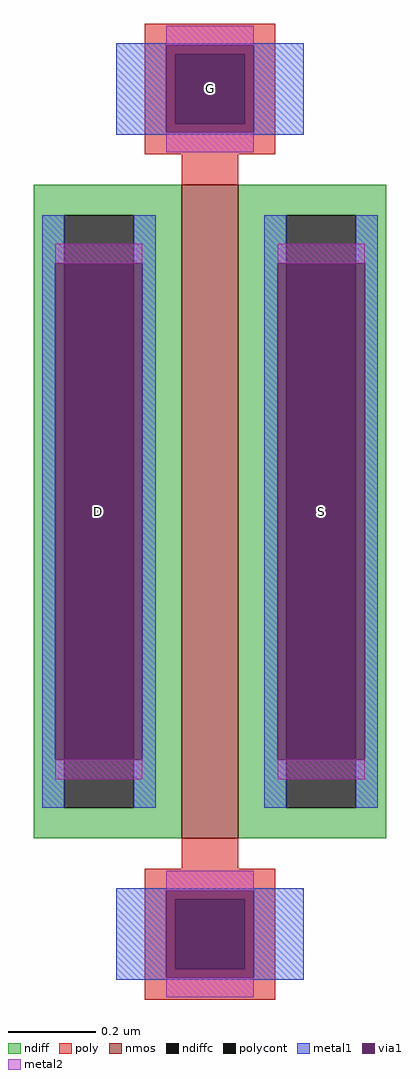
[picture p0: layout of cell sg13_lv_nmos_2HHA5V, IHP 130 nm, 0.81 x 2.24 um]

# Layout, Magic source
magic
tech ihp-sg13cmos5l
magscale 1 2
<< nmos >>
rect -13 -150 13 150
<< ndiff >>
rect -81 136 -13 150
rect -81 -136 -67 136
rect -35 -136 -13 136
rect -81 -150 -13 -136
rect 13 136 81 150
rect 13 -136 35 136
rect 67 -136 81 136
rect 13 -150 81 -136
<< ndiffc >>
rect -67 -136 -35 136
rect 35 -136 67 136
<< poly >>
rect -30 210 30 224
rect -30 178 -16 210
rect 16 178 30 210
rect -30 164 30 178
rect -13 150 13 164
rect -13 -164 13 -150
rect -30 -178 30 -164
rect -30 -210 -16 -178
rect 16 -210 30 -178
rect -30 -224 30 -210
<< polycont >>
rect -16 178 16 210
rect -16 -210 16 -178
<< metal1 >>
rect -43 214 43 215
rect -43 174 -20 214
rect 20 174 43 214
rect -43 173 43 174
rect -77 114 -67 136
rect -35 114 -25 136
rect -77 -114 -71 114
rect -31 -114 -25 114
rect -77 -136 -67 -114
rect -35 -136 -25 -114
rect 25 114 35 136
rect 67 114 77 136
rect 25 -114 31 114
rect 71 -114 77 114
rect 25 -136 35 -114
rect 67 -136 77 -114
rect -43 -174 43 -173
rect -43 -214 -20 -174
rect 20 -214 43 -174
rect -43 -215 43 -214
<< via1 >>
rect -20 210 20 214
rect -20 178 -16 210
rect -16 178 16 210
rect 16 178 20 210
rect -20 174 20 178
rect -71 -114 -67 114
rect -67 -114 -35 114
rect -35 -114 -31 114
rect 31 -114 35 114
rect 35 -114 67 114
rect 67 -114 71 114
rect -20 -178 20 -174
rect -20 -210 -16 -178
rect -16 -210 16 -178
rect 16 -210 20 -178
rect -20 -214 20 -210
<< metal2 >>
rect -20 214 20 223
rect -20 165 20 174
rect -71 114 -31 123
rect -71 -123 -31 -114
rect 31 114 71 123
rect 31 -123 71 -114
rect -20 -174 20 -165
rect -20 -223 20 -214
<< labels >>
rlabel ndiffc -51 0 -51 0 0 D
port 1 nsew
rlabel ndiffc 51 0 51 0 0 S
port 2 nsew
rlabel polycont 0 194 0 194 0 G
port 3 nsew
<< properties >>
string gencell sg13_lv_nmos
string library sg13cmos5l
string parameters w 1.5 l 0.13 m 1 ng 1 diffcov 100 polycov 100 guard 0 glc 1 grc 1 gtc 1 gbc 1 tbcov 100 rlcov 100 topc 1 botc 1 poverlap 0 doverlap 1 lmin 0.13 wmin 0.15 class mosfet compatible {sg13_lv_nmos sg13_hv_nmos} full_metal 1 conn_gates 0 gate_ring 0 doports 1 viasrc 100 viadrn 100 viagate 100 ccols 1 viagb 0 viagr 0 viagl 0 viagt 0
<< end >>
